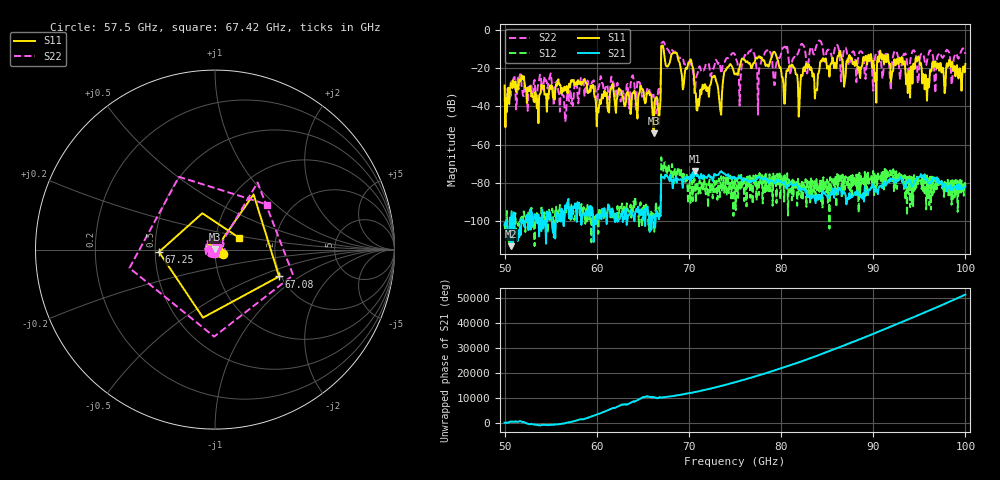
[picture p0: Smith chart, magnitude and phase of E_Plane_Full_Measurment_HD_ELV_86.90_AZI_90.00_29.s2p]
! 11/26/2026 3:30:02 PM
! C:\ANRITSUVNA\TEMP\TEMP.S2P
! CHANNEL.1
! TR.MEASUREMENT
! RAW.DATA
# HZ S RI R 50.0
! FREQ.HZ  S11RE  S11IM  S21RE  S21IM  S12RE  S12IM  S22RE  S22IM
!; PortSelection: Port_12
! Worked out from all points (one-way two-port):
!   601 points, 50 GHz to 100 GHz, reference 50 ohm
!   highest |S21| = -73.85 dB at 70.67 GHz (marker M1); lowest = -113.0 dB at 50.67 GHz (marker M2)
!   lowest |S11| = -54.1 dB at 66.17 GHz (marker M3), VSWR 1.00, Z = 50.1 + j0.143 ohm
!   |S11| at or under -10 dB: start of sweep to 67 GHz; 67.24 GHz to end of sweep
!   |S22| runs from -48.0 to -5.6 dB; largest |S21 - S12| = 0.00046
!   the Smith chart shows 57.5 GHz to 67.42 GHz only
!   S11 on the Smith chart (normalised r, x): 57.5 GHz: 1.09, -0.05; 67.08 GHz: 1.95, -0.69; 67.25 GHz: 0.52, -0.02; 67.42 GHz: 1.29, +0.18
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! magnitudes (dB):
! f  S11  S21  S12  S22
! 50 GHz  -29.0  -102.0  -100.6  -35.7
! 50.67 GHz  -27.8  -113.0  -102.7  -34.5
! 57.5 GHz  -26.2  -92.3  -97.1  -34.7
! 58.42 GHz  -27.1  -97.4  -93.7  -24.7
! 60.17 GHz  -43.2  -97.6  -106.5  -30.4
! 66.17 GHz  -54.1  -96.6  -96.0  -34.0
! 66.67 GHz  -41.5  -96.6  -94.2  -31.7
! 67.08 GHz  -8.2  -76.7  -70.6  -6.8
! 67.25 GHz  -10.1  -77.3  -74.2  -6.2
! 67.42 GHz  -16.6  -75.8  -69.2  -8.3
! 70.17 GHz  -15.4  -78.9  -90.4  -18.6
! 70.67 GHz  -33.0  -73.8  -79.6  -33.0
! 73.42 GHz  -42.4  -74.2  -82.5  -19.7
! 75 GHz  -23.3  -77.5  -77.3  -13.0
! 79.25 GHz  -11.5  -80.2  -80.7  -28.8
! 80.25 GHz  -28.0  -79.8  -76.0  -9.3
! 83.42 GHz  -24.5  -87.2  -78.9  -10.8
! 91.67 GHz  -16.8  -78.3  -76.6  -15.2
! 93.75 GHz  -33.1  -79.4  -75.8  -21.3
! 94.83 GHz  -14.9  -77.0  -81.1  -27.9
! 95.83 GHz  -37.0  -78.0  -76.1  -16.5
! 100 GHz  -17.8  -81.7  -81.4  -12.5
